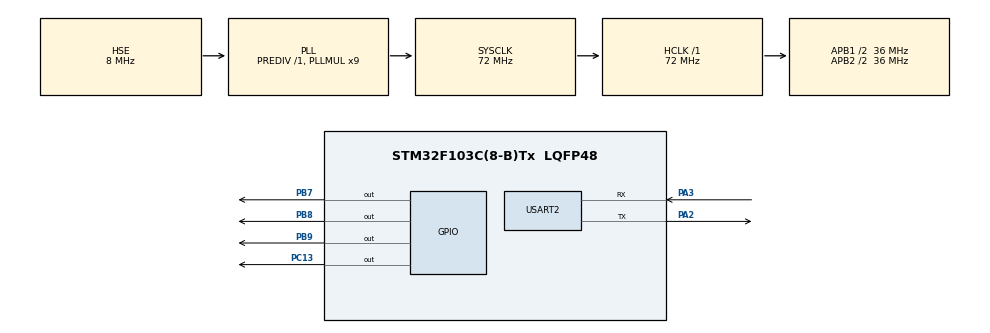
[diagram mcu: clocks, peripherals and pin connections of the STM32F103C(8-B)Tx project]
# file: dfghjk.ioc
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Mcu.Family=STM32F1
Mcu.Name=STM32F103C(8-B)Tx
Mcu.Package=LQFP48
NVIC.PriorityGroup=NVIC_PRIORITYGROUP_4
NVIC.RCC_IRQn=true\:0\:0\:false\:false\:true\:true
NVIC.USART2_IRQn=true\:0\:0\:false\:false\:true\:true
PA2.Mode=Asynchronous
PA2.Signal=USART2_TX
PA3.Mode=Asynchronous
PA3.Signal=USART2_RX
PB7.Signal=GPIO_Output
PB8.Signal=GPIO_Output
PB9.Signal=GPIO_Output
PC13-TAMPER-RTC.Signal=GPIO_Output
PD0-OSC_IN.Mode=HSE-External-Oscillator
PD0-OSC_IN.Signal=RCC_OSC_IN
PD1-OSC_OUT.Mode=HSE-External-Oscillator
PD1-OSC_OUT.Signal=RCC_OSC_OUT
ProjectManager.HeapSize=0x200
ProjectManager.StackSize=0x400
ProjectManager.TargetToolchain=MDK-ARM V5
RCC.AHBFreq_Value=72000000
RCC.APB1CLKDivider=RCC_HCLK_DIV2
RCC.APB1Freq_Value=36000000
RCC.APB1TimFreq_Value=72000000
RCC.APB2CLKDivider=RCC_HCLK_DIV2
RCC.APB2Freq_Value=36000000
RCC.APB2TimFreq_Value=72000000
RCC.HCLKFreq_Value=72000000
RCC.PLLMUL=RCC_PLL_MUL9
RCC.PLLSourceVirtual=RCC_PLLSOURCE_HSE
RCC.SYSCLKFreq_VALUE=72000000
RCC.SYSCLKSource=RCC_SYSCLKSOURCE_PLLCLK
RCC.USBFreq_Value=72000000
USART2.VirtualMode=VM_ASYNC
VP_SYS_VS_ND.Mode=No_Debug
board=dfghjk

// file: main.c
/**
  ******************************************************************************
  * File Name          : main.c
  * Description        : Main program body
  ******************************************************************************
  ** This notice applies to any and all portions of this file
  * that are not between comment pairs USER CODE BEGIN and
  * USER CODE END. Other portions of this file, whether
  * inserted by the user or by software development tools
  * are owned by their respective copyright owners.
  *
  * COPYRIGHT(c) 2019 STMicroelectronics
  *
  * Redistribution and use in source and binary forms, with or without modification,
  * are permitted provided that the following conditions are met:
  *   1. Redistributions of source code must retain the above copyright notice,
  *      this list of conditions and the following disclaimer.
  *   2. Redistributions in binary form must reproduce the above copyright notice,
  *      this list of conditions and the following disclaimer in the documentation
  *      and/or other materials provided with the distribution.
  *   3. Neither the name of STMicroelectronics nor the names of its contributors
  *      may be used to endorse or promote products derived from this software
  *      without specific prior written permission.
  *
  * THIS SOFTWARE IS PROVIDED BY THE COPYRIGHT HOLDERS AND CONTRIBUTORS "AS IS"
  * AND ANY EXPRESS OR IMPLIED WARRANTIES, INCLUDING, BUT NOT LIMITED TO, THE
  * IMPLIED WARRANTIES OF MERCHANTABILITY AND FITNESS FOR A PARTICULAR PURPOSE ARE
  * DISCLAIMED. IN NO EVENT SHALL THE COPYRIGHT HOLDER OR CONTRIBUTORS BE LIABLE
  * FOR ANY DIRECT, INDIRECT, INCIDENTAL, SPECIAL, EXEMPLARY, OR CONSEQUENTIAL
  * DAMAGES (INCLUDING, BUT NOT LIMITED TO, PROCUREMENT OF SUBSTITUTE GOODS OR
  * SERVICES; LOSS OF USE, DATA, OR PROFITS; OR BUSINESS INTERRUPTION) HOWEVER
  * CAUSED AND ON ANY THEORY OF LIABILITY, WHETHER IN CONTRACT, STRICT LIABILITY,
  * OR TORT (INCLUDING NEGLIGENCE OR OTHERWISE) ARISING IN ANY WAY OUT OF THE USE
  * OF THIS SOFTWARE, EVEN IF ADVISED OF THE POSSIBILITY OF SUCH DAMAGE.
  *
  ******************************************************************************
  */
#include "main.h"
#include "stm32f1xx_hal.h"

#include "one_wire_driver.h"
#include "dwt_stm32_delay.h"

UART_HandleTypeDef huart2;

/* USER CODE BEGIN PV */
/* Private variables ---------------------------------------------------------*/
uint8_t STATE=0;
/* USER CODE END PV */

void SystemClock_Config(void);
static void MX_GPIO_Init(void);
static void MX_USART2_UART_Init(void);

/* USER CODE BEGIN PFP */
/* Private function prototypes -----------------------------------------------*/

/* USER CODE END PFP */

int main(void)
{

  /* MCU Configuration----------------------------------------------------------*/

  /* Reset of all peripherals, Initializes the Flash interface and the Systick. */
  HAL_Init();

  /* Configure the system clock */
  SystemClock_Config();

  /* Initialize all configured peripherals */
  MX_GPIO_Init();
  MX_USART2_UART_Init();

  /* USER CODE BEGIN 2 */

uint8_t img[16]={'0','1','2','3','4','5','6','7','8','9','a','b','c','d','e','f'};
 uint8_t buffer[49];

 OWD_HandleTypeDef howd1={
													GPIO_PIN_9,
													GPIOB
												 };
 DWT_Delay_Init();
  /* USER CODE END 2 */

  /* Infinite loop */
  while (1)
  {

  /* USER CODE BEGIN 3 */

		switch (STATE)
		{
			case STATE_RESET:
				HAL_GPIO_WritePin(GPIOB,GPIO_PIN_9,GPIO_PIN_SET);
				DWT_Delay_us(500000);
				HAL_GPIO_TogglePin(GPIOC, GPIO_PIN_13);
				if(OWD_Reset(&howd1)==OWD_Error)
					{
							HAL_GPIO_WritePin(GPIOB,GPIO_PIN_7,GPIO_PIN_RESET);
							HAL_GPIO_WritePin(GPIOB,GPIO_PIN_8,GPIO_PIN_SET);

					}
				else
					{
							HAL_GPIO_WritePin(GPIOB,GPIO_PIN_8,GPIO_PIN_RESET);
							HAL_GPIO_WritePin(GPIOB,GPIO_PIN_7,GPIO_PIN_SET);
							STATE=STATE_Tx;
					}
				break;

			case STATE_Tx:

			  HAL_GPIO_WritePin(GPIOB,GPIO_PIN_7|GPIO_PIN_8,GPIO_PIN_SET);

			  OWD_Transmit_byte(0xcc,&howd1);

				DWT_Delay_us(50);

				OWD_Transmit_byte(0x33,&howd1);

				DWT_Delay_us(50);

   			STATE=STATE_Rx;
				break;
			case STATE_Rx:
				for(int i=0;i<8;i++)
					{
						uint8_t tmp=OWD_Receive_byte(&howd1);
						buffer[1+i*6-1]='0';

						buffer[2+6*i-1]='x';

						buffer[3+6*i-1]=img[(uint16_t)(tmp>>4)];

						buffer[4+6*i-1]=img[(uint16_t) tmp&USER_PREMASK];

						buffer[5+6*i-1]='\r';

						buffer[6+6*i-1]='\n';

					}
				HAL_UART_Transmit(&huart2,buffer,48,200);

					STATE=STATE_RESET;
				break;
			case STATE_SLEEP:

				break;
			case STATE_WAKEUP:

				break;
			//case STATE
			//case STATE

		}
		//reset

		//read info

		//transmit info

		//delay 1 second

  //  HAL_UART_Transmit(&huart2,egg,8,500);

  }
  /* USER CODE END 3 */

}

/** System Clock Configuration
*/
void SystemClock_Config(void)
{

  RCC_OscInitTypeDef RCC_OscInitStruct;
  RCC_ClkInitTypeDef RCC_ClkInitStruct;

    /**Initializes the CPU, AHB and APB busses clocks
    */
  RCC_OscInitStruct.OscillatorType = RCC_OSCILLATORTYPE_HSE;
  RCC_OscInitStruct.HSEState = RCC_HSE_ON;
  RCC_OscInitStruct.HSEPredivValue = RCC_HSE_PREDIV_DIV1;
  RCC_OscInitStruct.HSIState = RCC_HSI_ON;
  RCC_OscInitStruct.PLL.PLLState = RCC_PLL_ON;
  RCC_OscInitStruct.PLL.PLLSource = RCC_PLLSOURCE_HSE;
  RCC_OscInitStruct.PLL.PLLMUL = RCC_PLL_MUL9;
  if (HAL_RCC_OscConfig(&RCC_OscInitStruct) != HAL_OK)
  {
    _Error_Handler(__FILE__, __LINE__);
  }

    /**Initializes the CPU, AHB and APB busses clocks
    */
  RCC_ClkInitStruct.ClockType = RCC_CLOCKTYPE_HCLK|RCC_CLOCKTYPE_SYSCLK
                              |RCC_CLOCKTYPE_PCLK1|RCC_CLOCKTYPE_PCLK2;
  RCC_ClkInitStruct.SYSCLKSource = RCC_SYSCLKSOURCE_PLLCLK;
  RCC_ClkInitStruct.AHBCLKDivider = RCC_SYSCLK_DIV1;
  RCC_ClkInitStruct.APB1CLKDivider = RCC_HCLK_DIV2;
  RCC_ClkInitStruct.APB2CLKDivider = RCC_HCLK_DIV2;

  if (HAL_RCC_ClockConfig(&RCC_ClkInitStruct, FLASH_LATENCY_2) != HAL_OK)
  {
    _Error_Handler(__FILE__, __LINE__);
  }

    /**Configure the Systick interrupt time
    */
  HAL_SYSTICK_Config(HAL_RCC_GetHCLKFreq()/1000);

    /**Configure the Systick
    */
  HAL_SYSTICK_CLKSourceConfig(SYSTICK_CLKSOURCE_HCLK);

  /* SysTick_IRQn interrupt configuration */
  HAL_NVIC_SetPriority(SysTick_IRQn, 0, 0);
}

/* USART2 init function */
static void MX_USART2_UART_Init(void)
{

  huart2.Instance = USART2;
  huart2.Init.BaudRate = 9600;
  huart2.Init.WordLength = UART_WORDLENGTH_8B;
  huart2.Init.StopBits = UART_STOPBITS_1;
  huart2.Init.Parity = UART_PARITY_NONE;
  huart2.Init.Mode = UART_MODE_TX_RX;
  huart2.Init.HwFlowCtl = UART_HWCONTROL_NONE;
  huart2.Init.OverSampling = UART_OVERSAMPLING_16;
  if (HAL_UART_Init(&huart2) != HAL_OK)
  {
    _Error_Handler(__FILE__, __LINE__);
  }

}

/** Configure pins as
        * Analog
        * Input
        * Output
        * EVENT_OUT
        * EXTI
*/
static void MX_GPIO_Init(void)
{

  GPIO_InitTypeDef GPIO_InitStruct;

  /* GPIO Ports Clock Enable */
  __HAL_RCC_GPIOC_CLK_ENABLE();
  __HAL_RCC_GPIOD_CLK_ENABLE();
  __HAL_RCC_GPIOA_CLK_ENABLE();
  __HAL_RCC_GPIOB_CLK_ENABLE();

  /*Configure GPIO pin Output Level */
  HAL_GPIO_WritePin(GPIOC, GPIO_PIN_13, GPIO_PIN_RESET);

  /*Configure GPIO pin Output Level */
  HAL_GPIO_WritePin(GPIOB, GPIO_PIN_7|GPIO_PIN_8, GPIO_PIN_RESET);

  /*Configure GPIO pin Output Level */
  HAL_GPIO_WritePin(GPIOB,GPIO_PIN_9, GPIO_PIN_SET);

  /*Configure GPIO pin : PC13 */
  GPIO_InitStruct.Pin = GPIO_PIN_13;
  GPIO_InitStruct.Mode = GPIO_MODE_OUTPUT_PP;
  GPIO_InitStruct.Speed = GPIO_SPEED_FREQ_LOW;
  HAL_GPIO_Init(GPIOC, &GPIO_InitStruct);

  /*Configure GPIO pins : PB7 PB8 PB9 */
  GPIO_InitStruct.Pin = GPIO_PIN_7|GPIO_PIN_8|GPIO_PIN_9;
  GPIO_InitStruct.Mode = GPIO_MODE_OUTPUT_PP;
  GPIO_InitStruct.Speed = GPIO_SPEED_FREQ_LOW;
  HAL_GPIO_Init(GPIOB, &GPIO_InitStruct);

	  /*Configure GPIO pins : PB9 */
  GPIO_InitStruct.Pin = GPIO_PIN_9;
  GPIO_InitStruct.Mode = GPIO_MODE_OUTPUT_OD;
  GPIO_InitStruct.Speed = GPIO_SPEED_FREQ_HIGH;
	//GPIO_InitStruct.Pull=GPIO_PULLUP;
  HAL_GPIO_Init(GPIOB, &GPIO_InitStruct);

}

void _Error_Handler(char * file, int line)
{
  while(1)
  {
  }
}

/************************ (C) COPYRIGHT STMicroelectronics *****END OF FILE****/
